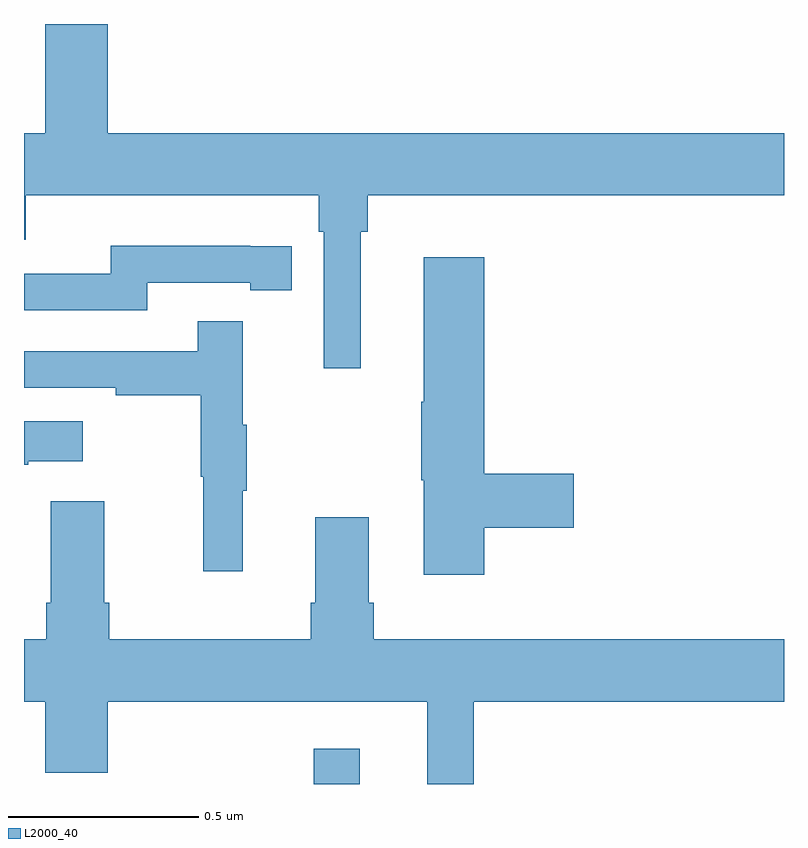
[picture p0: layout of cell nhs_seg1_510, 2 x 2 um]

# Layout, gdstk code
import gdstk
lib = gdstk.Library(unit=1e-6, precision=1e-09)
def R(c, l, rs):  # rectangles x0, y0, x1, y1
    for r in rs: c.add(gdstk.rectangle(r[:2], r[2:], *l))
def P(c, l, *ps):  # polygons
    for p in ps: c.add(gdstk.Polygon(p, *l))
L2000_40 = (2000, 40)

nhs_seg1_510 = lib.new_cell('nhs_seg1_510')
R(nhs_seg1_510, L2000_40, [(117.762,534.199,117.883,534.292)])
P(nhs_seg1_510, L2000_40, [(117.886,535.652),(117.905,535.652),(117.905,535.748),(119,535.748),(119,535.912),(117.22,535.912),(117.22,536.199),(117.056,536.199),(117.056,535.912),(117,535.912),(117,535.631),(117.004,535.631),(117.004,535.748),(117.776,535.748),(117.776,535.652),(117.789,535.652),(117.789,535.293),(117.886,535.293)],
  [(117.324,535.518),(117.596,535.518),(117.596,535.498),(117.704,535.498),(117.704,535.614),(117.596,535.614),(117.596,535.615),(117.228,535.615),(117.228,535.542),(117,535.542),(117,535.446),(117.324,535.446)],
  [(118.211,534.874),(118.447,534.874),(118.447,535.016),(118.211,535.016),(118.211,535.585),(118.052,535.585),(118.052,535.205),(118.045,535.205),(118.045,534.999),(118.052,534.999),(118.052,534.75),(118.211,534.75)],
  [(117.575,534.971),(117.586,534.971),(117.586,535.145),(117.575,535.145),(117.575,535.417),(117.457,535.417),(117.457,535.338),(117,535.338),(117,535.242),(117.241,535.242),(117.241,535.222),(117.465,535.222),(117.465,535.008),(117.472,535.008),(117.472,534.759),(117.575,534.759)],
  [(117.011,535.049),(117.154,535.049),(117.154,535.153),(117,535.153),(117,535.039),(117.011,535.039)],
  [(118.183,534.416),(119,534.416),(119,534.58),(117.92,534.58),(117.92,534.676),(117.907,534.676),(117.907,534.901),(117.767,534.901),(117.767,534.676),(117.755,534.676),(117.755,534.58),(117.224,534.58),(117.224,534.676),(117.211,534.676),(117.211,534.943),(117.071,534.943),(117.071,534.676),(117.059,534.676),(117.059,534.58),(117,534.58),(117,534.416),(117.056,534.416),(117.056,534.228),(117.22,534.228),(117.22,534.416),(118.061,534.416),(118.061,534.199),(118.183,534.199)])

lib.write_gds('nhs_seg1_510.gds')
